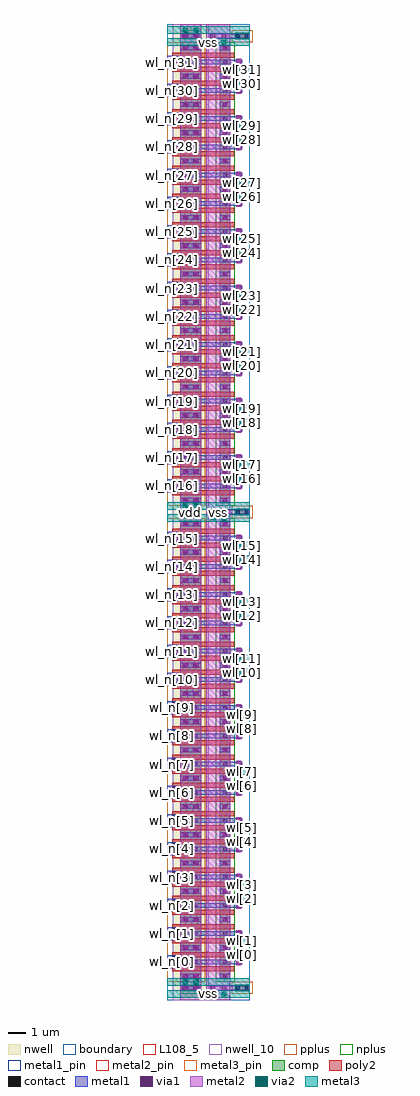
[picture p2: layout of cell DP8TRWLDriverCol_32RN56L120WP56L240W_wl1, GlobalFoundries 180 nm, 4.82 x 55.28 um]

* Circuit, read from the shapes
.subckt DP8TRWLDriverCol_32RN56L120WP56L240W_wl1 vdd vss wl[0] wl[10] wl[11] wl[12] wl[13] wl[14] wl[15] wl[16] wl[17] wl[18] wl[19] wl[1] wl[20] wl[21] wl[22] wl[23] wl[24] wl[25] wl[26] wl[27] wl[28] wl[29] wl[2] wl[30] wl[31] wl[3] wl[4] wl[5] wl[6] wl[7] wl[8] wl[9] wl_n[0] wl_n[10] wl_n[11] wl_n[12] wl_n[13] wl_n[14] wl_n[15] wl_n[16] wl_n[17] wl_n[18] wl_n[19] wl_n[1] wl_n[20] wl_n[21] wl_n[22] wl_n[23] wl_n[24] wl_n[25] wl_n[26] wl_n[27] wl_n[28] wl_n[29] wl_n[2] wl_n[30] wl_n[31] wl_n[3] wl_n[4] wl_n[5] wl_n[6] wl_n[7] wl_n[8] wl_n[9]
XM1 wl[0] wl_n[0] vss vss nfet_03v3 w=0.6u l=0.28u m=2
XM2 wl[1] wl_n[1] vss vss nfet_03v3 w=0.6u l=0.28u m=2
XM3 wl[2] wl_n[2] vss vss nfet_03v3 w=0.6u l=0.28u m=2
XM4 wl[3] wl_n[3] vss vss nfet_03v3 w=0.6u l=0.28u m=2
XM5 wl[4] wl_n[4] vss vss nfet_03v3 w=0.6u l=0.28u m=2
XM6 wl[5] wl_n[5] vss vss nfet_03v3 w=0.6u l=0.28u m=2
XM7 wl[6] wl_n[6] vss vss nfet_03v3 w=0.6u l=0.28u m=2
XM8 wl[7] wl_n[7] vss vss nfet_03v3 w=0.6u l=0.28u m=2
XM9 wl[8] wl_n[8] vss vss nfet_03v3 w=0.6u l=0.28u m=2
XM10 wl[9] wl_n[9] vss vss nfet_03v3 w=0.6u l=0.28u m=2
XM11 wl[10] wl_n[10] vss vss nfet_03v3 w=0.6u l=0.28u m=2
XM12 wl[11] wl_n[11] vss vss nfet_03v3 w=0.6u l=0.28u m=2
XM13 wl[12] wl_n[12] vss vss nfet_03v3 w=0.6u l=0.28u m=2
XM14 wl[13] wl_n[13] vss vss nfet_03v3 w=0.6u l=0.28u m=2
XM15 wl[14] wl_n[14] vss vss nfet_03v3 w=0.6u l=0.28u m=2
XM16 wl[15] wl_n[15] vss vss nfet_03v3 w=0.6u l=0.28u m=2
XM17 wl[16] wl_n[16] vss vss nfet_03v3 w=0.6u l=0.28u m=2
XM18 wl[17] wl_n[17] vss vss nfet_03v3 w=0.6u l=0.28u m=2
XM19 wl[18] wl_n[18] vss vss nfet_03v3 w=0.6u l=0.28u m=2
XM20 wl[19] wl_n[19] vss vss nfet_03v3 w=0.6u l=0.28u m=2
XM21 wl[20] wl_n[20] vss vss nfet_03v3 w=0.6u l=0.28u m=2
XM22 wl[21] wl_n[21] vss vss nfet_03v3 w=0.6u l=0.28u m=2
XM23 wl[22] wl_n[22] vss vss nfet_03v3 w=0.6u l=0.28u m=2
XM24 wl[23] wl_n[23] vss vss nfet_03v3 w=0.6u l=0.28u m=2
XM25 wl[24] wl_n[24] vss vss nfet_03v3 w=0.6u l=0.28u m=2
XM26 wl[25] wl_n[25] vss vss nfet_03v3 w=0.6u l=0.28u m=2
XM27 wl[26] wl_n[26] vss vss nfet_03v3 w=0.6u l=0.28u m=2
XM28 wl[27] wl_n[27] vss vss nfet_03v3 w=0.6u l=0.28u m=2
XM29 wl[28] wl_n[28] vss vss nfet_03v3 w=0.6u l=0.28u m=2
XM30 wl[29] wl_n[29] vss vss nfet_03v3 w=0.6u l=0.28u m=2
XM31 wl[30] wl_n[30] vss vss nfet_03v3 w=0.6u l=0.28u m=2
XM32 wl[31] wl_n[31] vss vss nfet_03v3 w=0.6u l=0.28u m=2
XM33 wl[0] wl_n[0] vdd vdd pfet_03v3 w=1.2u l=0.28u m=2
XM34 wl[1] wl_n[1] vdd vdd pfet_03v3 w=1.2u l=0.28u m=2
XM35 wl[2] wl_n[2] vdd vdd pfet_03v3 w=1.2u l=0.28u m=2
XM36 wl[3] wl_n[3] vdd vdd pfet_03v3 w=1.2u l=0.28u m=2
XM37 wl[4] wl_n[4] vdd vdd pfet_03v3 w=1.2u l=0.28u m=2
XM38 wl[5] wl_n[5] vdd vdd pfet_03v3 w=1.2u l=0.28u m=2
XM39 wl[6] wl_n[6] vdd vdd pfet_03v3 w=1.2u l=0.28u m=2
XM40 wl[7] wl_n[7] vdd vdd pfet_03v3 w=1.2u l=0.28u m=2
XM41 wl[8] wl_n[8] vdd vdd pfet_03v3 w=1.2u l=0.28u m=2
XM42 wl[9] wl_n[9] vdd vdd pfet_03v3 w=1.2u l=0.28u m=2
XM43 wl[10] wl_n[10] vdd vdd pfet_03v3 w=1.2u l=0.28u m=2
XM44 wl[11] wl_n[11] vdd vdd pfet_03v3 w=1.2u l=0.28u m=2
XM45 wl[12] wl_n[12] vdd vdd pfet_03v3 w=1.2u l=0.28u m=2
XM46 wl[13] wl_n[13] vdd vdd pfet_03v3 w=1.2u l=0.28u m=2
XM47 wl[14] wl_n[14] vdd vdd pfet_03v3 w=1.2u l=0.28u m=2
XM48 wl[15] wl_n[15] vdd vdd pfet_03v3 w=1.2u l=0.28u m=2
XM49 wl[16] wl_n[16] vdd vdd pfet_03v3 w=1.2u l=0.28u m=2
XM50 wl[17] wl_n[17] vdd vdd pfet_03v3 w=1.2u l=0.28u m=2
XM51 wl[18] wl_n[18] vdd vdd pfet_03v3 w=1.2u l=0.28u m=2
XM52 wl[19] wl_n[19] vdd vdd pfet_03v3 w=1.2u l=0.28u m=2
XM53 wl[20] wl_n[20] vdd vdd pfet_03v3 w=1.2u l=0.28u m=2
XM54 wl[21] wl_n[21] vdd vdd pfet_03v3 w=1.2u l=0.28u m=2
XM55 wl[22] wl_n[22] vdd vdd pfet_03v3 w=1.2u l=0.28u m=2
XM56 wl[23] wl_n[23] vdd vdd pfet_03v3 w=1.2u l=0.28u m=2
XM57 wl[24] wl_n[24] vdd vdd pfet_03v3 w=1.2u l=0.28u m=2
XM58 wl[25] wl_n[25] vdd vdd pfet_03v3 w=1.2u l=0.28u m=2
XM59 wl[26] wl_n[26] vdd vdd pfet_03v3 w=1.2u l=0.28u m=2
XM60 wl[27] wl_n[27] vdd vdd pfet_03v3 w=1.2u l=0.28u m=2
XM61 wl[28] wl_n[28] vdd vdd pfet_03v3 w=1.2u l=0.28u m=2
XM62 wl[29] wl_n[29] vdd vdd pfet_03v3 w=1.2u l=0.28u m=2
XM63 wl[30] wl_n[30] vdd vdd pfet_03v3 w=1.2u l=0.28u m=2
XM64 wl[31] wl_n[31] vdd vdd pfet_03v3 w=1.2u l=0.28u m=2
.ends

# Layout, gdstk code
import gdstk
lib = gdstk.Library(unit=1e-6, precision=1e-09)
def R(c, l, rs):  # rectangles x0, y0, x1, y1
    for r in rs: c.add(gdstk.rectangle(r[:2], r[2:], *l))
def A(c, l, x, y, w, h, nx, ny, dx, dy):  # array of equal rectangles
    R(c, l, [(x+i*dx, y+j*dy, x+i*dx+w, y+j*dy+h) for i in range(nx) for j in range(ny)])
def P(c, l, *ps):  # polygons
    for p in ps: c.add(gdstk.Polygon(p, *l))
boundary = (0, 0)
nwell = (21, 0)
nwell_10 = (21, 10)
comp = (22, 0)
poly2 = (30, 0)
pplus = (31, 0)
nplus = (32, 0)
contact = (33, 0)
metal1 = (34, 0)
metal1_pin = (34, 10)
via1 = (35, 0)
metal2 = (36, 0)
metal2_pin = (36, 10)
via2 = (38, 0)
metal3 = (42, 0)
metal3_pin = (42, 10)
L108_5 = (108, 5)

dp8trwldriverbc_n56l120w = lib.new_cell('DP8TRWLDriverBC_N56L120WP56L240W')
R(dp8trwldriverbc_n56l120w, boundary, [(-4.66,0,0,1.36)])
R(dp8trwldriverbc_n56l120w, nwell, [(-4.37,0,-2.31,1.36)])
R(dp8trwldriverbc_n56l120w, nwell_10, [(-4.37,0,-2.31,1.36)])
R(dp8trwldriverbc_n56l120w, comp, [(-3.77,0.5,-2.91,0.86), (-0.86,0.5,0,0.86)])
R(dp8trwldriverbc_n56l120w, pplus, [(-1.02,0.34,0.16,1.02)])
R(dp8trwldriverbc_n56l120w, nplus, [(-3.93,0.34,-2.75,1.02)])
R(dp8trwldriverbc_n56l120w, contact, [(-3.7,0.57,-3.48,0.79), (-3.2,0.57,-2.98,0.79), (-0.79,0.57,-0.57,0.79), (-0.29,0.57,-0.07,0.79)])
R(dp8trwldriverbc_n56l120w, metal1, [(-3.84,0.55,-2.84,0.81)])
P(dp8trwldriverbc_n56l120w, metal1, [(-2.275,0.55),(-2.275,0.81),(-1.275,0.81),(-1.275,0.795),(0,0.795),(0,0.565),(-1.275,0.565),(-1.275,0.55)])
R(dp8trwldriverbc_n56l120w, via1, [(-3.78,0.55,-3.52,0.81), (-3.16,0.55,-2.9,0.81), (-2.215,0.55,-1.955,0.81), (-1.595,0.55,-1.335,0.81)])
R(dp8trwldriverbc_n56l120w, metal2, [(-3.94,0,-2.74,1.36), (-2.46,0,-1.09,1.36)])
R(dp8trwldriverbc_n56l120w, metal2_pin, [(-3.94,0,-2.74,1.36), (-2.46,0,-1.09,1.36)])
R(dp8trwldriverbc_n56l120w, via2, [(-2.215,0.21,-1.955,0.47), (-1.595,0.21,-1.335,0.47), (-3.78,0.89,-3.52,1.15), (-3.16,0.89,-2.9,1.15)])
R(dp8trwldriverbc_n56l120w, metal3, [(-4.66,0.14,0,0.54), (-4.66,0.82,0,1.22)])
R(dp8trwldriverbc_n56l120w, metal3_pin, [(-4.66,0.14,0,0.54), (-4.66,0.82,0,1.22)])
R(dp8trwldriverbc_n56l120w, L108_5, [(-0.86,0.5,0,0.86)])
dp8trwldriverbc_n56l120w.add(gdstk.Label('vss', (-1.775,0.68), layer=36, texttype=10))
dp8trwldriverbc_n56l120w.add(gdstk.Label('vdd', (-3.34,0.68), layer=36, texttype=10))
dp8trwldriverbc_n56l120w.add(gdstk.Label('vss', (-2.33,0.34), layer=42, texttype=10))
dp8trwldriverbc_n56l120w.add(gdstk.Label('vdd', (-2.33,1.02), layer=42, texttype=10))
dp8trwldriverbc_n56l120w.add(gdstk.Label('vdd', (-3.34,0.68), layer=21, texttype=10))

dp8trwldriver_n56l120wp5 = lib.new_cell('DP8TRWLDriver_N56L120WP56L240W_wl1')
R(dp8trwldriver_n56l120wp5, boundary, [(-4.66,0,0,1.6)])
R(dp8trwldriver_n56l120wp5, nwell, [(-4.37,-0.61,-2.31,2.21)])
R(dp8trwldriver_n56l120wp5, nwell_10, [(-4.37,-0.61,-2.31,2.21)])
R(dp8trwldriver_n56l120wp5, comp, [(-3.94,-0.18,-2.74,1.78), (-3.94,-0.18,-2.74,1.78), (-1.69,-0.18,-1.09,1.78), (-1.69,-0.18,-1.09,1.78)])
P(dp8trwldriver_n56l120wp5, poly2, [(-4.4,0.26),(-4.4,1.34),(-0.87,1.34),(-0.87,1.06),(-4.04,1.06),(-4.04,0.54),(-0.87,0.54),(-0.87,0.26)])
R(dp8trwldriver_n56l120wp5, pplus, [(-4.66,-0.34,-2.51,1.94)])
R(dp8trwldriver_n56l120wp5, nplus, [(-1.92,-0.34,-0.86,1.94)])
A(dp8trwldriver_n56l120wp5, contact, -3.7, -0.11, 0.22, 0.22, 1, 3, 0, 0.8)
A(dp8trwldriver_n56l120wp5, contact, -3.2, -0.11, 0.22, 0.22, 1, 3, 0, 0.8)
A(dp8trwldriver_n56l120wp5, contact, -1.5, -0.11, 0.22, 0.22, 1, 3, 0, 0.8)
R(dp8trwldriver_n56l120wp5, contact, [(-4.33,0.44,-4.11,0.66), (-4.33,0.94,-4.11,1.16)])
R(dp8trwldriver_n56l120wp5, metal1, [(-3.94,-0.13,-2.74,0.13), (-1.69,-0.13,-1.09,0.13), (-4.66,0.435,-4.05,1.165), (-3.76,0.67,-0.43,0.93), (-3.94,1.47,-2.74,1.73), (-1.69,1.47,-1.09,1.73)])
R(dp8trwldriver_n56l120wp5, metal1_pin, [(-4.66,0.435,-4.05,1.165)])
R(dp8trwldriver_n56l120wp5, via1, [(-3.78,-0.13,-3.52,0.13), (-3.16,-0.13,-2.9,0.13), (-1.52,-0.13,-1.26,0.13), (-0.75,0.67,-0.49,0.93), (-3.78,1.47,-3.52,1.73), (-3.16,1.47,-2.9,1.73), (-1.52,1.47,-1.26,1.73)])
R(dp8trwldriver_n56l120wp5, metal2, [(-3.94,-0.14,-2.74,1.74), (-2.46,-0.14,-1.09,1.74), (-0.76,0.21,-0.48,0.99)])
R(dp8trwldriver_n56l120wp5, metal2_pin, [(-3.94,-0.14,-2.74,1.74), (-2.46,-0.14,-1.09,1.74)])
R(dp8trwldriver_n56l120wp5, via2, [(-0.75,0.27,-0.49,0.53)])
R(dp8trwldriver_n56l120wp5, metal3, [(-0.81,0.2,0,0.6)])
R(dp8trwldriver_n56l120wp5, metal3_pin, [(-0.81,0.2,0,0.6)])
dp8trwldriver_n56l120wp5.add(gdstk.Label('vss', (-1.775,0.8), layer=36, texttype=10))
dp8trwldriver_n56l120wp5.add(gdstk.Label('vdd', (-3.34,0.8), layer=36, texttype=10))
dp8trwldriver_n56l120wp5.add(gdstk.Label('wl_drive', (-0.405,0.4), layer=42, texttype=10))
dp8trwldriver_n56l120wp5.add(gdstk.Label('nwell', (-3.34,0.8), layer=21, texttype=10))
dp8trwldriver_n56l120wp5.add(gdstk.Label('wl_n', (-4.355,0.8), layer=34, texttype=10))

dp8trwldrivercol_32rn56l = lib.new_cell('DP8TRWLDriverCol_32RN56L120WP56L240W_wl1')
R(dp8trwldrivercol_32rn56l, boundary, [(0,0,4.66,55.28)])
A(dp8trwldrivercol_32rn56l, metal1, 0, 1.795, 0.61, 0.73, 1, 16, 0, 1.6)
A(dp8trwldrivercol_32rn56l, metal1, 0, 28.755, 0.61, 0.73, 1, 16, 0, 1.6)
A(dp8trwldrivercol_32rn56l, metal1_pin, 0, 1.795, 0.61, 0.73, 1, 16, 0, 1.6)
A(dp8trwldrivercol_32rn56l, metal1_pin, 0, 28.755, 0.61, 0.73, 1, 16, 0, 1.6)
R(dp8trwldrivercol_32rn56l, metal2, [(0.72,0,1.92,55.28), (2.2,0,3.57,55.28)])
R(dp8trwldrivercol_32rn56l, metal2_pin, [(0.72,0,1.92,55.28), (2.2,0,3.57,55.28)])
R(dp8trwldrivercol_32rn56l, metal3, [(0,0.14,4.66,0.54), (0,0.82,4.66,1.22), (3.85,2.36,4.66,2.76), (3.85,3.16,4.66,3.56), (3.85,5.56,4.66,5.96), (3.85,6.36,4.66,6.76), (3.85,8.76,4.66,9.16), (3.85,9.56,4.66,9.96), (3.85,11.96,4.66,12.36), (3.85,12.76,4.66,13.16), (3.85,15.16,4.66,15.56), (3.85,15.96,4.66,16.36), (3.85,18.36,4.66,18.76), (3.85,19.16,4.66,19.56), (3.85,21.56,4.66,21.96), (3.85,22.36,4.66,22.76), (3.85,24.76,4.66,25.16), (3.85,25.56,4.66,25.96), (0,27.1,4.66,27.5), (0,27.78,4.66,28.18), (3.85,29.32,4.66,29.72), (3.85,30.12,4.66,30.52), (3.85,32.52,4.66,32.92), (3.85,33.32,4.66,33.72), (3.85,35.72,4.66,36.12), (3.85,36.52,4.66,36.92), (3.85,38.92,4.66,39.32), (3.85,39.72,4.66,40.12), (3.85,42.12,4.66,42.52), (3.85,42.92,4.66,43.32), (3.85,45.32,4.66,45.72), (3.85,46.12,4.66,46.52), (3.85,48.52,4.66,48.92), (3.85,49.32,4.66,49.72), (3.85,51.72,4.66,52.12), (3.85,52.52,4.66,52.92), (0,54.06,4.66,54.46), (0,54.74,4.66,55.14)])
R(dp8trwldrivercol_32rn56l, metal3_pin, [(0,0.14,4.66,0.54), (0,0.82,4.66,1.22), (3.85,2.36,4.66,2.76), (3.85,3.16,4.66,3.56), (3.85,5.56,4.66,5.96), (3.85,6.36,4.66,6.76), (3.85,8.76,4.66,9.16), (3.85,9.56,4.66,9.96), (3.85,11.96,4.66,12.36), (3.85,12.76,4.66,13.16), (3.85,15.16,4.66,15.56), (3.85,15.96,4.66,16.36), (3.85,18.36,4.66,18.76), (3.85,19.16,4.66,19.56), (3.85,21.56,4.66,21.96), (3.85,22.36,4.66,22.76), (3.85,24.76,4.66,25.16), (3.85,25.56,4.66,25.96), (0,27.1,4.66,27.5), (0,27.78,4.66,28.18), (3.85,29.32,4.66,29.72), (3.85,30.12,4.66,30.52), (3.85,32.52,4.66,32.92), (3.85,33.32,4.66,33.72), (3.85,35.72,4.66,36.12), (3.85,36.52,4.66,36.92), (3.85,38.92,4.66,39.32), (3.85,39.72,4.66,40.12), (3.85,42.12,4.66,42.52), (3.85,42.92,4.66,43.32), (3.85,45.32,4.66,45.72), (3.85,46.12,4.66,46.52), (3.85,48.52,4.66,48.92), (3.85,49.32,4.66,49.72), (3.85,51.72,4.66,52.12), (3.85,52.52,4.66,52.92), (0,54.06,4.66,54.46), (0,54.74,4.66,55.14)])
dp8trwldrivercol_32rn56l.add(gdstk.Reference(dp8trwldriverbc_n56l120w, (4.66,0)))
dp8trwldrivercol_32rn56l.add(gdstk.Reference(dp8trwldriver_n56l120wp5, (4.66,2.96), x_reflection=True))
dp8trwldrivercol_32rn56l.add(gdstk.Reference(dp8trwldriver_n56l120wp5, (4.66,2.96)))
dp8trwldrivercol_32rn56l.add(gdstk.Reference(dp8trwldriver_n56l120wp5, (4.66,6.16), x_reflection=True))
dp8trwldrivercol_32rn56l.add(gdstk.Reference(dp8trwldriver_n56l120wp5, (4.66,6.16)))
dp8trwldrivercol_32rn56l.add(gdstk.Reference(dp8trwldriver_n56l120wp5, (4.66,9.36), x_reflection=True))
dp8trwldrivercol_32rn56l.add(gdstk.Reference(dp8trwldriver_n56l120wp5, (4.66,9.36)))
dp8trwldrivercol_32rn56l.add(gdstk.Reference(dp8trwldriver_n56l120wp5, (4.66,12.56), x_reflection=True))
dp8trwldrivercol_32rn56l.add(gdstk.Reference(dp8trwldriver_n56l120wp5, (4.66,12.56)))
dp8trwldrivercol_32rn56l.add(gdstk.Reference(dp8trwldriver_n56l120wp5, (4.66,15.76), x_reflection=True))
dp8trwldrivercol_32rn56l.add(gdstk.Reference(dp8trwldriver_n56l120wp5, (4.66,15.76)))
dp8trwldrivercol_32rn56l.add(gdstk.Reference(dp8trwldriver_n56l120wp5, (4.66,18.96), x_reflection=True))
dp8trwldrivercol_32rn56l.add(gdstk.Reference(dp8trwldriver_n56l120wp5, (4.66,18.96)))
dp8trwldrivercol_32rn56l.add(gdstk.Reference(dp8trwldriver_n56l120wp5, (4.66,22.16), x_reflection=True))
dp8trwldrivercol_32rn56l.add(gdstk.Reference(dp8trwldriver_n56l120wp5, (4.66,22.16)))
dp8trwldrivercol_32rn56l.add(gdstk.Reference(dp8trwldriver_n56l120wp5, (4.66,25.36), x_reflection=True))
dp8trwldrivercol_32rn56l.add(gdstk.Reference(dp8trwldriver_n56l120wp5, (4.66,25.36)))
dp8trwldrivercol_32rn56l.add(gdstk.Reference(dp8trwldriverbc_n56l120w, (4.66,26.96)))
dp8trwldrivercol_32rn56l.add(gdstk.Reference(dp8trwldriver_n56l120wp5, (4.66,29.92), x_reflection=True))
dp8trwldrivercol_32rn56l.add(gdstk.Reference(dp8trwldriver_n56l120wp5, (4.66,29.92)))
dp8trwldrivercol_32rn56l.add(gdstk.Reference(dp8trwldriver_n56l120wp5, (4.66,33.12), x_reflection=True))
dp8trwldrivercol_32rn56l.add(gdstk.Reference(dp8trwldriver_n56l120wp5, (4.66,33.12)))
dp8trwldrivercol_32rn56l.add(gdstk.Reference(dp8trwldriver_n56l120wp5, (4.66,36.32), x_reflection=True))
dp8trwldrivercol_32rn56l.add(gdstk.Reference(dp8trwldriver_n56l120wp5, (4.66,36.32)))
dp8trwldrivercol_32rn56l.add(gdstk.Reference(dp8trwldriver_n56l120wp5, (4.66,39.52), x_reflection=True))
dp8trwldrivercol_32rn56l.add(gdstk.Reference(dp8trwldriver_n56l120wp5, (4.66,39.52)))
dp8trwldrivercol_32rn56l.add(gdstk.Reference(dp8trwldriver_n56l120wp5, (4.66,42.72), x_reflection=True))
dp8trwldrivercol_32rn56l.add(gdstk.Reference(dp8trwldriver_n56l120wp5, (4.66,42.72)))
dp8trwldrivercol_32rn56l.add(gdstk.Reference(dp8trwldriver_n56l120wp5, (4.66,45.92), x_reflection=True))
dp8trwldrivercol_32rn56l.add(gdstk.Reference(dp8trwldriver_n56l120wp5, (4.66,45.92)))
dp8trwldrivercol_32rn56l.add(gdstk.Reference(dp8trwldriver_n56l120wp5, (4.66,49.12), x_reflection=True))
dp8trwldrivercol_32rn56l.add(gdstk.Reference(dp8trwldriver_n56l120wp5, (4.66,49.12)))
dp8trwldrivercol_32rn56l.add(gdstk.Reference(dp8trwldriver_n56l120wp5, (4.66,52.32), x_reflection=True))
dp8trwldrivercol_32rn56l.add(gdstk.Reference(dp8trwldriver_n56l120wp5, (4.66,52.32)))
dp8trwldrivercol_32rn56l.add(gdstk.Reference(dp8trwldriverbc_n56l120w, (4.66,53.92)))
dp8trwldrivercol_32rn56l.add(gdstk.Label('vss', (2.885,27.64), layer=36, texttype=10))
dp8trwldrivercol_32rn56l.add(gdstk.Label('vdd', (1.32,27.64), layer=36, texttype=10))
dp8trwldrivercol_32rn56l.add(gdstk.Label('vss', (2.33,0.34), layer=42, texttype=10))
dp8trwldrivercol_32rn56l.add(gdstk.Label('vss', (2.33,27.3), layer=42, texttype=10))
dp8trwldrivercol_32rn56l.add(gdstk.Label('vss', (2.33,54.26), layer=42, texttype=10))
dp8trwldrivercol_32rn56l.add(gdstk.Label('vdd', (2.33,1.02), layer=42, texttype=10))
dp8trwldrivercol_32rn56l.add(gdstk.Label('vdd', (2.33,54.94), layer=42, texttype=10))
dp8trwldrivercol_32rn56l.add(gdstk.Label('vdd', (2.33,27.98), layer=42, texttype=10))
dp8trwldrivercol_32rn56l.add(gdstk.Label('wl[0]', (4.255,2.56), layer=42, texttype=10))
dp8trwldrivercol_32rn56l.add(gdstk.Label('wl[1]', (4.255,3.36), layer=42, texttype=10))
dp8trwldrivercol_32rn56l.add(gdstk.Label('wl[2]', (4.255,5.76), layer=42, texttype=10))
dp8trwldrivercol_32rn56l.add(gdstk.Label('wl[3]', (4.255,6.56), layer=42, texttype=10))
dp8trwldrivercol_32rn56l.add(gdstk.Label('wl[4]', (4.255,8.96), layer=42, texttype=10))
dp8trwldrivercol_32rn56l.add(gdstk.Label('wl[5]', (4.255,9.76), layer=42, texttype=10))
dp8trwldrivercol_32rn56l.add(gdstk.Label('wl[6]', (4.255,12.16), layer=42, texttype=10))
dp8trwldrivercol_32rn56l.add(gdstk.Label('wl[7]', (4.255,12.96), layer=42, texttype=10))
dp8trwldrivercol_32rn56l.add(gdstk.Label('wl[8]', (4.255,15.36), layer=42, texttype=10))
dp8trwldrivercol_32rn56l.add(gdstk.Label('wl[9]', (4.255,16.16), layer=42, texttype=10))
dp8trwldrivercol_32rn56l.add(gdstk.Label('wl[10]', (4.255,18.56), layer=42, texttype=10))
dp8trwldrivercol_32rn56l.add(gdstk.Label('wl[11]', (4.255,19.36), layer=42, texttype=10))
dp8trwldrivercol_32rn56l.add(gdstk.Label('wl[12]', (4.255,21.76), layer=42, texttype=10))
dp8trwldrivercol_32rn56l.add(gdstk.Label('wl[13]', (4.255,22.56), layer=42, texttype=10))
dp8trwldrivercol_32rn56l.add(gdstk.Label('wl[14]', (4.255,24.96), layer=42, texttype=10))
dp8trwldrivercol_32rn56l.add(gdstk.Label('wl[15]', (4.255,25.76), layer=42, texttype=10))
dp8trwldrivercol_32rn56l.add(gdstk.Label('wl[16]', (4.255,29.52), layer=42, texttype=10))
dp8trwldrivercol_32rn56l.add(gdstk.Label('wl[17]', (4.255,30.32), layer=42, texttype=10))
dp8trwldrivercol_32rn56l.add(gdstk.Label('wl[18]', (4.255,32.72), layer=42, texttype=10))
dp8trwldrivercol_32rn56l.add(gdstk.Label('wl[19]', (4.255,33.52), layer=42, texttype=10))
dp8trwldrivercol_32rn56l.add(gdstk.Label('wl[20]', (4.255,35.92), layer=42, texttype=10))
dp8trwldrivercol_32rn56l.add(gdstk.Label('wl[21]', (4.255,36.72), layer=42, texttype=10))
dp8trwldrivercol_32rn56l.add(gdstk.Label('wl[22]', (4.255,39.12), layer=42, texttype=10))
dp8trwldrivercol_32rn56l.add(gdstk.Label('wl[23]', (4.255,39.92), layer=42, texttype=10))
dp8trwldrivercol_32rn56l.add(gdstk.Label('wl[24]', (4.255,42.32), layer=42, texttype=10))
dp8trwldrivercol_32rn56l.add(gdstk.Label('wl[25]', (4.255,43.12), layer=42, texttype=10))
dp8trwldrivercol_32rn56l.add(gdstk.Label('wl[26]', (4.255,45.52), layer=42, texttype=10))
dp8trwldrivercol_32rn56l.add(gdstk.Label('wl[27]', (4.255,46.32), layer=42, texttype=10))
dp8trwldrivercol_32rn56l.add(gdstk.Label('wl[28]', (4.255,48.72), layer=42, texttype=10))
dp8trwldrivercol_32rn56l.add(gdstk.Label('wl[29]', (4.255,49.52), layer=42, texttype=10))
dp8trwldrivercol_32rn56l.add(gdstk.Label('wl[30]', (4.255,51.92), layer=42, texttype=10))
dp8trwldrivercol_32rn56l.add(gdstk.Label('wl[31]', (4.255,52.72), layer=42, texttype=10))
dp8trwldrivercol_32rn56l.add(gdstk.Label('wl_n[0]', (0.305,2.16), layer=34, texttype=10))
dp8trwldrivercol_32rn56l.add(gdstk.Label('wl_n[1]', (0.305,3.76), layer=34, texttype=10))
dp8trwldrivercol_32rn56l.add(gdstk.Label('wl_n[2]', (0.305,5.36), layer=34, texttype=10))
dp8trwldrivercol_32rn56l.add(gdstk.Label('wl_n[3]', (0.305,6.96), layer=34, texttype=10))
dp8trwldrivercol_32rn56l.add(gdstk.Label('wl_n[4]', (0.305,8.56), layer=34, texttype=10))
dp8trwldrivercol_32rn56l.add(gdstk.Label('wl_n[5]', (0.305,10.16), layer=34, texttype=10))
dp8trwldrivercol_32rn56l.add(gdstk.Label('wl_n[6]', (0.305,11.76), layer=34, texttype=10))
dp8trwldrivercol_32rn56l.add(gdstk.Label('wl_n[7]', (0.305,13.36), layer=34, texttype=10))
dp8trwldrivercol_32rn56l.add(gdstk.Label('wl_n[8]', (0.305,14.96), layer=34, texttype=10))
dp8trwldrivercol_32rn56l.add(gdstk.Label('wl_n[9]', (0.305,16.56), layer=34, texttype=10))
dp8trwldrivercol_32rn56l.add(gdstk.Label('wl_n[10]', (0.305,18.16), layer=34, texttype=10))
dp8trwldrivercol_32rn56l.add(gdstk.Label('wl_n[11]', (0.305,19.76), layer=34, texttype=10))
dp8trwldrivercol_32rn56l.add(gdstk.Label('wl_n[12]', (0.305,21.36), layer=34, texttype=10))
dp8trwldrivercol_32rn56l.add(gdstk.Label('wl_n[13]', (0.305,22.96), layer=34, texttype=10))
dp8trwldrivercol_32rn56l.add(gdstk.Label('wl_n[14]', (0.305,24.56), layer=34, texttype=10))
dp8trwldrivercol_32rn56l.add(gdstk.Label('wl_n[15]', (0.305,26.16), layer=34, texttype=10))
dp8trwldrivercol_32rn56l.add(gdstk.Label('wl_n[16]', (0.305,29.12), layer=34, texttype=10))
dp8trwldrivercol_32rn56l.add(gdstk.Label('wl_n[17]', (0.305,30.72), layer=34, texttype=10))
dp8trwldrivercol_32rn56l.add(gdstk.Label('wl_n[18]', (0.305,32.32), layer=34, texttype=10))
dp8trwldrivercol_32rn56l.add(gdstk.Label('wl_n[19]', (0.305,33.92), layer=34, texttype=10))
dp8trwldrivercol_32rn56l.add(gdstk.Label('wl_n[20]', (0.305,35.52), layer=34, texttype=10))
dp8trwldrivercol_32rn56l.add(gdstk.Label('wl_n[21]', (0.305,37.12), layer=34, texttype=10))
dp8trwldrivercol_32rn56l.add(gdstk.Label('wl_n[22]', (0.305,38.72), layer=34, texttype=10))
dp8trwldrivercol_32rn56l.add(gdstk.Label('wl_n[23]', (0.305,40.32), layer=34, texttype=10))
dp8trwldrivercol_32rn56l.add(gdstk.Label('wl_n[24]', (0.305,41.92), layer=34, texttype=10))
dp8trwldrivercol_32rn56l.add(gdstk.Label('wl_n[25]', (0.305,43.52), layer=34, texttype=10))
dp8trwldrivercol_32rn56l.add(gdstk.Label('wl_n[26]', (0.305,45.12), layer=34, texttype=10))
dp8trwldrivercol_32rn56l.add(gdstk.Label('wl_n[27]', (0.305,46.72), layer=34, texttype=10))
dp8trwldrivercol_32rn56l.add(gdstk.Label('wl_n[28]', (0.305,48.32), layer=34, texttype=10))
dp8trwldrivercol_32rn56l.add(gdstk.Label('wl_n[29]', (0.305,49.92), layer=34, texttype=10))
dp8trwldrivercol_32rn56l.add(gdstk.Label('wl_n[30]', (0.305,51.52), layer=34, texttype=10))
dp8trwldrivercol_32rn56l.add(gdstk.Label('wl_n[31]', (0.305,53.12), layer=34, texttype=10))

lib.write_gds('DP8TRWLDriverCol_32RN56L120WP56L240W_wl1.gds')
